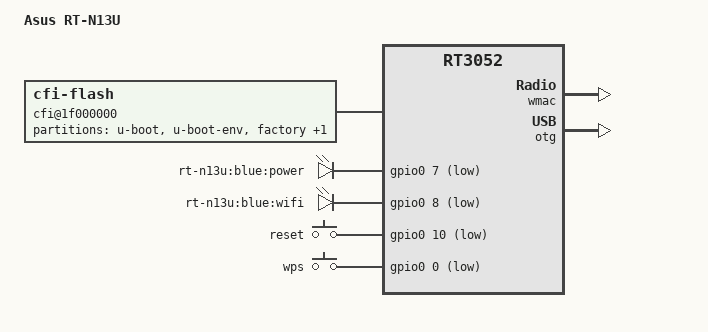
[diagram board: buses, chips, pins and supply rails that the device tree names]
/dts-v1/;

#include "rt3050.dtsi"

/ {
	compatible = "RT-N13U", "ralink,rt3052-soc";
	model = "Asus RT-N13U";

	cfi@1f000000 {
		compatible = "cfi-flash";
		reg = <0x1f000000 0x800000>;
		bank-width = <2>;
		device-width = <2>;
		#address-cells = <1>;
		#size-cells = <1>;

		partition@0 {
			label = "u-boot";
			reg = <0x0 0x30000>;
			read-only;
		};

		partition@30000 {
			label = "u-boot-env";
			reg = <0x30000 0x10000>;
			read-only;
		};

		factory: partition@40000 {
			label = "factory";
			reg = <0x40000 0x10000>;
			read-only;
		};

		partition@50000 {
			label = "firmware";
			reg = <0x50000 0x7b0000>;
		};
	};

	gpio-leds {
		compatible = "gpio-leds";

		power {
			label = "rt-n13u:blue:power";
			gpios = <&gpio0 7 1>;
		};

		wifi {
			label = "rt-n13u:blue:wifi";
			gpios = <&gpio0 8 1>;
		};
	};

	gpio-keys-polled {
		compatible = "gpio-keys-polled";
		#address-cells = <1>;
		#size-cells = <0>;
		poll-interval = <10>;

		reset {
			label = "reset";
			gpios = <&gpio0 10 1>;
			linux,code = <0x198>;
		};

		wps {
			label = "wps";
			gpios = <&gpio0 0 1>;
			linux,code = <0x211>;
		};
	};
};

&pinctrl {
	state_default: pinctrl0 {
		gpio {
			ralink,group = "spi", "i2c", "jtag", "rgmii", "mdio", "uartf";
			ralink,function = "gpio";
		};
	};
};

&ethernet {
	mtd-mac-address = <&factory 0x28>;
};

&esw {
	mediatek,portmap = <0x2f>;
};

&wmac {
	ralink,mtd-eeprom = <&factory 0>;
};

&otg {
	status = "okay";
};
